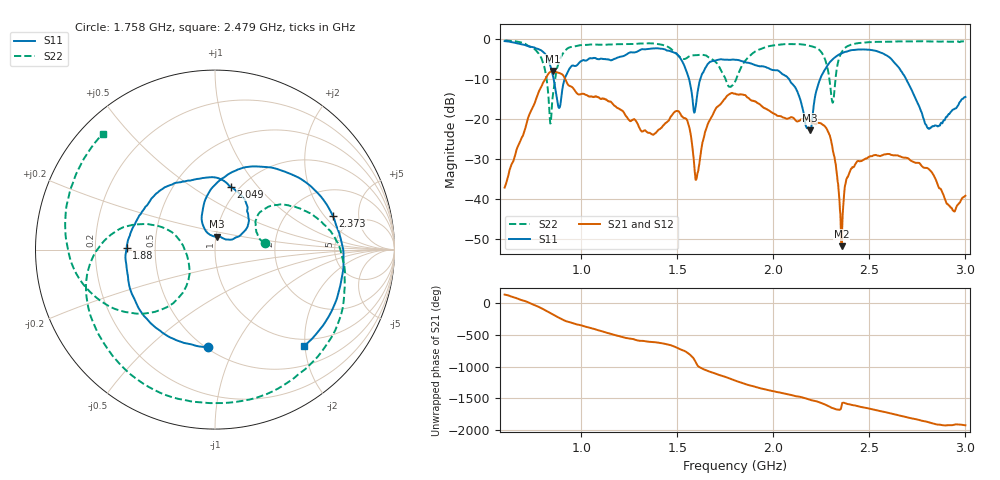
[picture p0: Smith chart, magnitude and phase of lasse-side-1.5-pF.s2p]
#  HZ  S  RI  R  50.00
! Rohde & Schwarz ZVB8 2Ports - Version 2.81 - 1145.1010k08 SN: 100113
! Date: 2016-03-31 04:59:58
! Measurements: S11 S21 S12 S22
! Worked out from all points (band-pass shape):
!   1000 points, 600 MHz to 3 GHz, reference 50 ohm
!   highest |S21| = -8.03 dB at 852.3 MHz (marker M1); lowest = -51.7 dB at 2.356 GHz (marker M2)
!   |S21| within 3 dB of the highest: 799.9 MHz to 924.8 MHz (124.8 MHz wide, 14.5 % of centre)
!   lowest |S11| = -22.9 dB at 2.19 GHz (marker M3), VSWR 1.15, Z = 50.4 + j7.23 ohm
!   |S11| at or under -10 dB: 1.56 GHz to 1.62 GHz (59.47 MHz wide, 3.74 % of centre); 2.08 GHz to 2.244 GHz (163.4 MHz wide, 7.56 % of centre); 2.691 GHz to end of sweep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
!   |S22| runs from -21.2 to -0.4 dB; largest |S21 - S12| = 0.0024
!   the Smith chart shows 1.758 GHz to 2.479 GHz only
!   S11 on the Smith chart (normalised r, x): 1.758 GHz: 0.51, -0.79; 1.88 GHz: 0.34, +0.01; 2.049 GHz: 0.91, +0.73; 2.373 GHz: 3.50, +2.44; 2.479 GHz: 0.85, -1.98
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6e8  0.0438 0.9317  -0.0106 0.00899  -0.0106 0.00887  -0.078 0.9474
7.369369e8  0.7574 0.229  0.125 -0.00782  0.1248 -0.00871  0.7384 0.2676
8.522523e8  0.1516 -0.3056  -0.3967 -0.00406  -0.3969 -0.0047  0.1444 0.1455
1.001201e9  0.2683 -0.4551  0.2021 0.0363  0.2018 0.0368  0.5036 -0.6648
1.21982e9  -0.6081 0.0111  -0.1214 -0.00252  -0.1213 -0.0026  -0.8558 0.0218
1.4e9  0.2835 0.7009  -0.0108 0.0719  -0.011 0.0718  0.5294 0.675
1.488889e9  0.6567 0.1006  0.1076 0.0618  0.1074 0.062  0.1714 -0.647
1.534535e9  0.4181 -0.2133  0.0883 -0.0514  0.0883 -0.0511  -0.5493 -0.0929
1.596997e9  0.1508 0.0221  -0.0139 0.0104  -0.0139 0.0103  -0.138 0.6087
1.757958e9  -0.0391 -0.5441  -0.0114 -0.1932  -0.0113 -0.1929  0.2782 0.0377
1.801201e9  -0.3053 -0.4523  -0.1673 -0.1206  -0.1673 -0.1203  0.2319 0.1791
1.88048e9  -0.492 0.0102  -0.1292 0.1152  -0.1293 0.1149  0.6045 0.1422
2.048649e9  0.0892 0.349  0.0996 0.0316  0.0994 0.0318  0.3197 -0.7905
2.19039e9  0.00931 0.0713  0.00611 -0.0964  0.00618 -0.0962  -0.6053 -0.5428
2.2e9  -0.0289 0.0832  -0.00744 -0.0909  -0.00725 -0.0908  -0.6466 -0.4757
2.308108e9  0.31 0.458  -0.0332 0.0266  -0.0332 0.0265  -0.1562 -0.0315
2.356156e9  0.592 0.2933  -0.0025 -0.000666  -0.0025 -0.000685  -0.612 -0.3022
2.372973e9  0.6565 0.1862  -0.0113 -0.00956  -0.0112 -0.00961  -0.7471 -0.1758
2.478679e9  0.4957 -0.5391  -0.0268 0.0172  -0.0269 0.0172  -0.626 0.646
2.601201e9  -0.4108 -0.4291  0.016 0.0328  0.0158 0.0329  0.0971 0.9125
2.807808e9  0.0757 -0.011  0.00335 -0.0236  0.00356 -0.0236  0.8954 0.2334
3e9  -0.1305 0.1353  -0.00717 -0.00836  -0.00711 -0.00837  0.712 -0.5945
